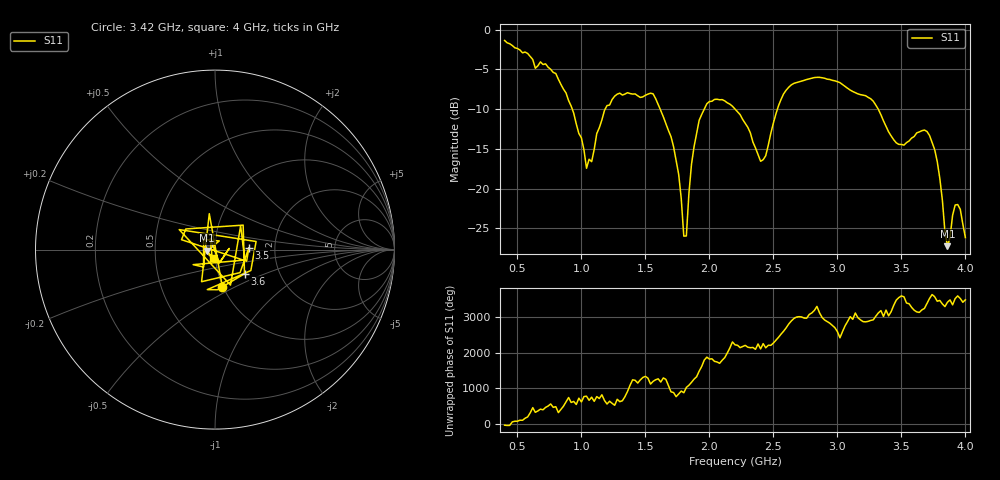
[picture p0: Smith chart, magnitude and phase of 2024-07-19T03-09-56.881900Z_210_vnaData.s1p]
!Created with skrf (http://scikit-rf.org).
# Hz S RI R 50.0
!freq ReS11 ImS11
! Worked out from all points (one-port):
!   181 points, 400 MHz to 4 GHz, reference 50 ohm
!   lowest |S11| = -27.2 dB at 3.86 GHz (marker M1), VSWR 1.09, Z = 45.9 - j0.475 ohm
!   |S11| at or under -10 dB: 1.615 GHz to 1.96 GHz (345 MHz wide, 19.3 % of centre); 2.201 GHz to 2.532 GHz (330.9 MHz wide, 14 % of centre); 3.319 GHz to end of sweep (the widest 3 of 4)
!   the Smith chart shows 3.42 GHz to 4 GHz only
!   S11 on the Smith chart (normalised r, x): 3.42 GHz: 0.99, -0.44; 3.5 GHz: 1.47, +0.03; 3.6 GHz: 1.33, -0.38; 4 GHz: 0.97, -0.09
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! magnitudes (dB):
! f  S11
! 400 MHz  -1.4
! 860 MHz  -7.5
! 1.04 GHz  -17.4
! 1.18 GHz  -10.2
! 1.3 GHz  -8.0
! 1.56 GHz  -8.1
! 1.7 GHz  -13.5
! 1.76 GHz  -18.2
! 1.8 GHz  -26.0
! 1.82 GHz  -26.0
! 1.86 GHz  -17.0
! 1.92 GHz  -11.4
! 2.04 GHz  -8.8
! 2.2 GHz  -10.0
! 2.4 GHz  -16.6
! 2.56 GHz  -8.8
! 2.66 GHz  -6.8
! 3.1 GHz  -7.6
! 3.28 GHz  -9.0
! 3.42 GHz  -13.4
! 3.5 GHz  -14.4
! 3.56 GHz  -14.0
! 3.6 GHz  -13.5
! 3.7 GHz  -12.8
! 3.76 GHz  -15.1
! 3.86 GHz  -27.2
! 3.92 GHz  -22.1
! 4 GHz  -26.2
